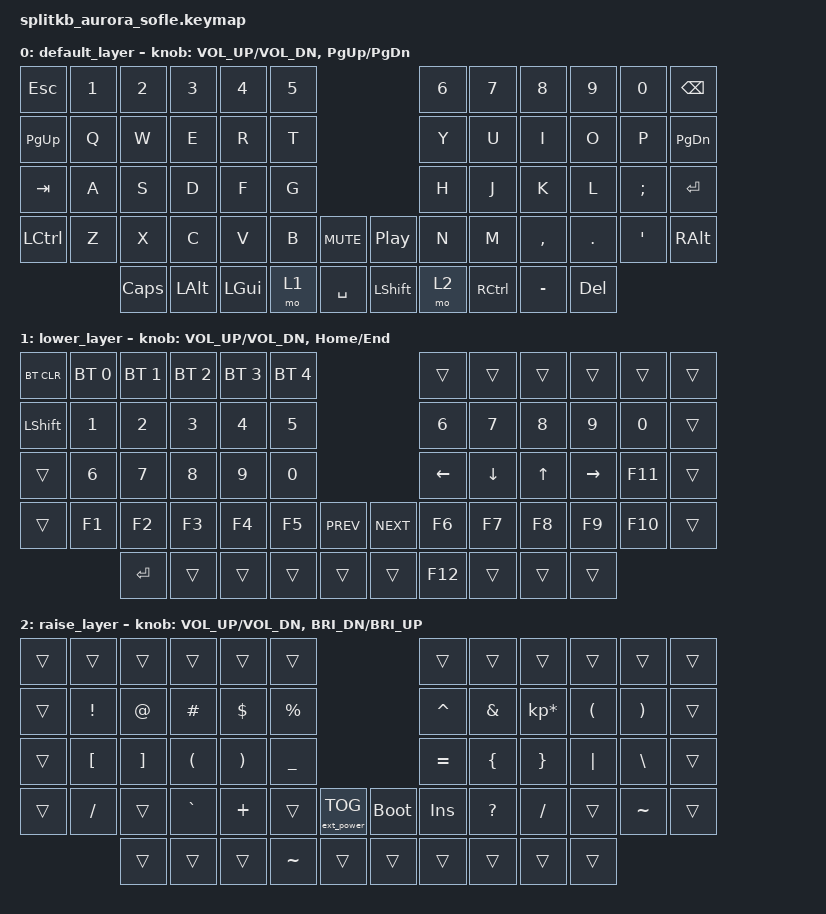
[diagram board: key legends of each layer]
/*
 * Copyright (c) 2023 The ZMK Contributors
 *
 * SPDX-License-Identifier: MIT
 */

#include <behaviors.dtsi>
#include <dt-bindings/zmk/keys.h>
#include <dt-bindings/zmk/bt.h>
#include <dt-bindings/zmk/ext_power.h>

/* Uncomment this block if using RGB
&led_strip {
    chain-length = <6>;
    // chain-length = <35>; // Uncomment if using both per-key and underglow LEDs
    // chain-length = <29>; // Uncomment if using only per-key LEDs.
};
 */

/ {
    keymap {
        compatible = "zmk,keymap";

        default_layer {
// ------------------------------------------------------------------------------------------------------------
// |  ESC  |  1  |  2   |  3   |   4   |  5   |                    |   6   |   7   |  8    |  9   |   0   |  BKSP |
// | PG_UP |  Q  |  W   |  E   |   R   |  T   |                    |   Y   |   U   |  I    |  O   |   P   | PG_DN |
// |  TAB  |  A  |  S   |  D   |   F   |  G   |                    |   H   |   J   |  K    |  L   |   ;   |  RET  |
// |  CTRL |  Z  |  X   |  C   |   V   |  B   |  MUTE  |   |       |   N   |   M   |  ,    |  .   |   '   |  ALT  |
//               | CAPS | ALT  | LOWER | GUI  |  SPACE |   | SHIFT | RAISE |  CTRL | MINUS | DEL  |
            bindings = <
&kp ESC   &kp N1 &kp N2    &kp N3    &kp N4    &kp N5                          &kp N6 &kp N7    &kp N8    &kp N9   &kp N0   &kp BSPC
&kp PG_UP &kp Q  &kp W     &kp E     &kp R     &kp T                           &kp Y  &kp U     &kp I     &kp O    &kp P    &kp PG_DN
&kp TAB   &kp A  &kp S     &kp D     &kp F     &kp G                           &kp H  &kp J     &kp K     &kp L    &kp SEMI &kp RET
&kp LCTRL &kp Z  &kp X     &kp C     &kp V     &kp B     &kp C_MUTE  &kp C_PP  &kp N  &kp M     &kp COMMA &kp DOT  &kp SQT  &kp RALT
                 &kp CAPS  &kp LALT  &kp LGUI  &mo 1     &kp SPACE   &kp LSHFT &mo 2  &kp RCTRL &kp MINUS &kp DEL
            >;

            sensor-bindings = <&inc_dec_kp C_VOL_UP C_VOL_DN &inc_dec_kp PG_UP PG_DN>;
        };

        lower_layer {
// ------------------------------------------------------------------------------------------------------------
// | BTCLR | BT1 | BT2 |  BT3 |  BT4 |  BT5 |                   |      |       |       |      |       |       |
// | SHFT  |  1  |  2  |  3   |  4   |  5   |                   |  6   |   7   |   8   |  9   |   0   |       |
// |       |  6  |  7  |  8   |  9   |  0   |                   |  <-  |   v   |   ^   |  ->  |  F11  |       |
// |       |  F1 |  F2 |  F3  |  F4  |  F5  |        |  |       |  F6  |  F7   |  F8   |  F9  |  F10  |       |
//               | RET |      |      |      |        |  |       | F12  |       |       |      |
            bindings = <
&bt BT_CLR &bt BT_SEL 0 &bt BT_SEL 1      &bt BT_SEL 2      &bt BT_SEL 3 &bt BT_SEL 4                         &trans    &trans    &trans    &trans    &trans    &trans
&kp LSHFT  &kp N1       &kp N2            &kp N3            &kp N4       &kp N5                               &kp N6    &kp N7    &kp N8    &kp N9    &kp N0    &trans
&trans     &kp N6       &kp N7            &kp N8            &kp N9       &kp N0                               &kp LEFT  &kp DOWN  &kp UP    &kp RIGHT &kp F11   &trans
&trans     &kp F1       &kp F2            &kp F3            &kp F4       &kp F5       &kp C_PREV   &kp C_NEXT &kp F6    &kp F7    &kp F8    &kp F9    &kp F10   &trans
                        &kp RET           &trans            &trans       &trans       &trans       &trans     &kp F12   &trans    &trans    &trans
            >;

            sensor-bindings = <&inc_dec_kp C_VOL_UP C_VOL_DN &inc_dec_kp HOME END>;
        };

        raise_layer {
// ------------------------------------------------------------------------------------------------------------
// |       |  1  |  2  |  3   |  4   |  5   |                   |  6   |   7   |   8   |  9   |   0   |       |
// |       |  !  |  @  |  #   |  $   |  %   |                   |  ^   |   &   |   *   |  (   |   )   |       |
// |       |  [  |  ]  |  (   |  )   |  _   |                   |  =   |   {   |   }   | "|"  |   \   |       |
// |       |  /  |     |  `   |  +   |      |        |  |  boot | INS  |   ?   |   /   |      |   ~   |       |
//               |     |      |      |  ~   |        |  |       |      |       |       |      |
            bindings = <
&trans    &trans   &trans   &trans    &trans     &trans                                      &trans    &trans    &trans          &trans   &trans    &trans
&trans    &kp EXCL &kp AT   &kp HASH  &kp DLLR   &kp PRCNT                                   &kp CARET &kp AMPS  &kp KP_MULTIPLY &kp LPAR &kp RPAR  &trans
&trans    &kp LBKT &kp RBKT &kp LPAR  &kp RPAR   &kp UNDER                                   &kp EQUAL &kp LBRC  &kp RBRC        &kp PIPE &kp BSLH  &trans
&trans    &kp FSLH &trans   &kp GRAVE &kp PLUS   &trans    &ext_power EP_TOG   &bootloader   &kp INS   &kp QMARK &kp FSLH        &trans   &kp TILDE &trans
                   &trans   &trans    &trans     &kp TILDE &trans              &trans        &trans    &trans    &trans          &trans
            >;

            sensor-bindings = <&inc_dec_kp C_VOL_UP C_VOL_DN &inc_dec_kp C_BRI_DN C_BRI_UP>;
        };
    };
};
